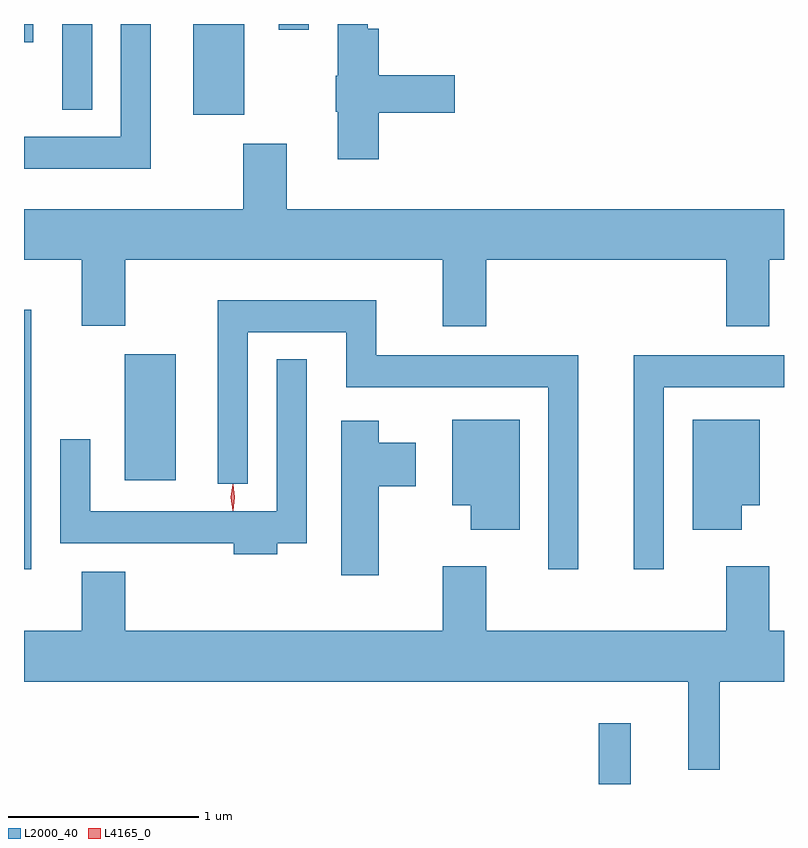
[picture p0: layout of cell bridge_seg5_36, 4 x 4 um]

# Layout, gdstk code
import gdstk
lib = gdstk.Library(unit=1e-6, precision=1e-09)
def R(c, l, rs):  # rectangles x0, y0, x1, y1
    for r in rs: c.add(gdstk.rectangle(r[:2], r[2:], *l))
def P(c, l, *ps):  # polygons
    for p in ps: c.add(gdstk.Polygon(p, *l))
L2000_40 = (2000, 40)
L4165_0 = (4165, 0)

bridge_seg5_36 = lib.new_cell('bridge_seg5_36')
R(bridge_seg5_36, L2000_40, [(1321.841,1462.918,1322.009,1463.238), (1318.816,1464.048,1318.854,1465.414), (1319.346,1464.516,1319.614,1465.179), (1319.706,1466.441,1319.974,1466.918), (1319.016,1466.468,1319.174,1466.918), (1318.816,1466.821,1318.864,1466.918), (1320.156,1466.888,1320.314,1466.918)])
P(bridge_seg5_36, L2000_40, [(1320.684,1466.451),(1321.084,1466.451),(1321.084,1466.649),(1320.684,1466.649),(1320.684,1466.894),(1320.624,1466.894),(1320.624,1466.918),(1320.466,1466.918),(1320.466,1466.645),(1320.456,1466.645),(1320.456,1466.455),(1320.466,1466.455),(1320.466,1466.206),(1320.684,1466.206)],
  [(1319.484,1466.918),(1319.326,1466.918),(1319.326,1466.324),(1318.816,1466.324),(1318.816,1466.156),(1319.484,1466.156)],
  [(1321.249,1465.676),(1322.511,1465.676),(1322.511,1465.326),(1322.739,1465.326),(1322.739,1465.676),(1322.816,1465.676),(1322.816,1465.944),(1320.199,1465.944),(1320.199,1466.289),(1319.971,1466.289),(1319.971,1465.944),(1318.816,1465.944),(1318.816,1465.676),(1319.121,1465.676),(1319.121,1465.331),(1319.349,1465.331),(1319.349,1465.676),(1321.021,1465.676),(1321.021,1465.326),(1321.249,1465.326)],
  [(1321.734,1465.174),(1320.669,1465.174),(1320.669,1465.464),(1319.836,1465.464),(1319.836,1464.498),(1319.994,1464.498),(1319.994,1465.296),(1320.511,1465.296),(1320.511,1465.006),(1321.576,1465.006),(1321.576,1464.048),(1321.734,1464.048)],
  [(1322.184,1465.006),(1322.816,1465.006),(1322.816,1465.174),(1322.026,1465.174),(1322.026,1464.048),(1322.184,1464.048)],
  [(1320.149,1464.186),(1320.304,1464.186),(1320.304,1465.153),(1320.146,1465.153),(1320.146,1464.354),(1319.164,1464.354),(1319.164,1464.733),(1319.006,1464.733),(1319.006,1464.186),(1319.921,1464.186),(1319.921,1464.126),(1320.149,1464.126)],
  [(1322.594,1464.386),(1322.689,1464.386),(1322.689,1464.834),(1322.336,1464.834),(1322.336,1464.256),(1322.594,1464.256)],
  [(1321.424,1464.834),(1321.071,1464.834),(1321.071,1464.386),(1321.166,1464.386),(1321.166,1464.256),(1321.424,1464.256)],
  [(1320.684,1464.486),(1320.879,1464.486),(1320.879,1464.714),(1320.684,1464.714),(1320.684,1464.829),(1320.486,1464.829),(1320.486,1464.016),(1320.684,1464.016)],
  [(1322.479,1463.456),(1322.816,1463.456),(1322.816,1463.724),(1322.739,1463.724),(1322.739,1464.064),(1322.511,1464.064),(1322.511,1463.724),(1321.249,1463.724),(1321.249,1464.064),(1321.021,1464.064),(1321.021,1463.724),(1319.349,1463.724),(1319.349,1464.034),(1319.121,1464.034),(1319.121,1463.724),(1318.816,1463.724),(1318.816,1463.456),(1322.311,1463.456),(1322.311,1462.993),(1322.479,1462.993)])
P(bridge_seg5_36, L4165_0, [(1319.914,1464.357),(1319.905,1464.426),(1319.914,1464.496),(1319.915,1464.496),(1319.916,1464.496),(1319.925,1464.426),(1319.916,1464.357),(1319.915,1464.357)])

lib.write_gds('bridge_seg5_36.gds')
